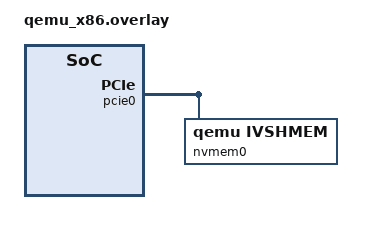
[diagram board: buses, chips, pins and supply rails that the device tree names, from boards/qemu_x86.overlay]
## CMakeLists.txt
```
# SPDX-License-Identifier: Apache-2.0
cmake_minimum_required(VERSION 3.20.0)
find_package(Zephyr REQUIRED HINTS $ENV{ZEPHYR_BASE})
project(starkoff_ocpp_cp)

target_include_directories(app PRIVATE src lib/jsmn)
file(GLOB app_sources CONFIGURE_DEPENDS src/*.c src/*/*.c)
target_sources(app PRIVATE ${app_sources})
```

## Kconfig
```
# Application options. Change at build time with:
#   scripts/build.sh --url ws://10.0.2.2:9000/ocpp --id CP001
menu "STARKOFF OCPP Charge Point"

config OCPP_SERVER_URL
	string "Default Central System base URL (Charge Point ID is appended)"
	default "ws://10.0.2.2:9000/ocpp"

config OCPP_CHARGE_POINT_ID
	string "Default Charge Point ID"
	default "CP001"

config OCPP_NUM_CONNECTORS
	int "Number of connectors"
	default 1
	range 1 4

config CTRL_TCP_PORT
	int "TCP control port for the simulated hardware"
	default 7000

endmenu

source "Kconfig.zephyr"
```

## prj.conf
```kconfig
# ---- Kernel / C library ----
CONFIG_MAIN_STACK_SIZE=8192
# Guard pages around thread stacks: an overflow faults at once ("Stack overflow")
# instead of silently corrupting memory. (Found a real overflow this way, D20.)
CONFIG_HW_STACK_PROTECTION=y
CONFIG_SYSTEM_WORKQUEUE_STACK_SIZE=2048
CONFIG_SHELL_STACK_SIZE=4096
# Software watchdog for the main loop (no hardware watchdog in QEMU, so no HW fallback)
CONFIG_TASK_WDT=y
CONFIG_TASK_WDT_HW_FALLBACK=n
CONFIG_HEAP_MEM_POOL_SIZE=65536
CONFIG_REBOOT=y
CONFIG_CRC=y

# ---- Persistent storage: ivshmem (host file mapped as memory) ----
CONFIG_VIRTUALIZATION=y
CONFIG_IVSHMEM=y
CONFIG_IVSHMEM_LOG_LEVEL_WRN=y

# ---- Networking: e1000 Ethernet + QEMU user mode (SLIRP) ----
CONFIG_NETWORKING=y
CONFIG_NET_IPV4=y
CONFIG_NET_IPV6=n
CONFIG_NET_TCP=y
CONFIG_NET_SOCKETS=y
# Right after boot SLIRP may not know our MAC yet (see D7): give TCP SYN retransmits
# 10 s instead of 3 s, so the first connection succeeds instead of waiting for back-off.
CONFIG_NET_SOCKETS_CONNECT_TIMEOUT=10000
# File descriptors: ctrl listener + 4 ctrl clients + WebSocket + DNS + spare
CONFIG_ZVFS_OPEN_MAX=16
CONFIG_ZVFS_POLL_MAX=8
CONFIG_NET_MAX_CONN=12
CONFIG_NET_MAX_CONTEXTS=14
CONFIG_NET_L2_ETHERNET=y
CONFIG_PCIE=y
# QEMU network = user mode (SLIRP). Without this choice Zephyr defaults to SLIP
# on the 2nd UART, whose driver blocks the boot. scripts/run_qemu.sh starts QEMU itself
# with the same -nic user option; the EXTRA_ARGS below are only for "west build -t run".
CONFIG_NET_QEMU_USER=y
CONFIG_NET_QEMU_USER_EXTRA_ARGS="hostfwd=tcp:127.0.0.1:7000-:7000"
CONFIG_NET_CONFIG_SETTINGS=y
CONFIG_NET_CONFIG_NEED_IPV4=y
# Static IP. Zephyr's e1000 driver does not accept broadcast frames (no RCTL_BAM),
# so DHCP cannot work. src/net/link.c announces us to SLIRP instead. See DECISIONS D7.
CONFIG_NET_CONFIG_MY_IPV4_ADDR="10.0.2.15"
CONFIG_NET_CONFIG_MY_IPV4_NETMASK="255.255.255.0"
CONFIG_NET_CONFIG_MY_IPV4_GW="10.0.2.2"
CONFIG_DNS_RESOLVER=y
CONFIG_DNS_SERVER_IP_ADDRESSES=y
CONFIG_DNS_SERVER1="10.0.2.3"
# QEMU board has no hardware RNG. Only used for the WebSocket mask key.
CONFIG_TEST_RANDOM_GENERATOR=y

# ---- WebSocket client (OCPP-J transport) ----
CONFIG_HTTP_CLIENT=y
CONFIG_WEBSOCKET_CLIENT=y

# ---- Shell on the UART ----
CONFIG_SHELL=y
CONFIG_NET_SHELL=y
CONFIG_SHELL_CMD_BUFF_SIZE=320
CONFIG_SHELL_ARGC_MAX=12

# ---- Logging ----
CONFIG_LOG=y
CONFIG_LOG_BUFFER_SIZE=16384
CONFIG_NET_LOG=y
```

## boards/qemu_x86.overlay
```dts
/*
 * Persistent storage for the charge point: QEMU "ivshmem-plain" device.
 * QEMU maps a host file (scripts/run_qemu.sh --disk) into a PCI memory BAR.
 * The firmware sees it as memory-mapped non-volatile memory (like NOR flash);
 * every write goes straight into the host file, so data survives a reboot
 * inside QEMU and restarting QEMU itself.
 */
#include <zephyr/dt-bindings/pcie/pcie.h>
/ {
	pcie0 {
		nvmem0: ivshmem0 {
			compatible = "qemu,ivshmem";
			vendor-id = <0x1af4>;
			device-id = <0x1110>;
			status = "okay";
		};
	};
};
```

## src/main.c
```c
/*
 * STARKOFF OCPP 1.6J Charge Point - entry point.
 * Networking is brought up by Zephyr's net_config (static 10.0.2.15) before main() runs.
 */
#include <zephyr/kernel.h>
#include <zephyr/logging/log.h>
#include <zephyr/version.h>
#include "store/store.h"
#include "ocpp/config.h"
#include "sim/sim.h"
#include "ctrl/ctrl.h"
#include "net/link.h"
#include "ocpp/ocpp.h"

LOG_MODULE_REGISTER(main, LOG_LEVEL_INF);

int main(void)
{
	LOG_INF("STARKOFF charge point firmware starting (Zephyr %s)", KERNEL_VERSION_STRING);
	store_init();
	cfg_init();
	LOG_INF("server %s, CP id %s", cfg_get(CFG_SERVER_URL), cfg_get(CFG_CP_ID));
	sim_init();
	ctrl_start();
	link_announce_start();

	ocpp_run(); /* never returns */
	return 0;
}
```
